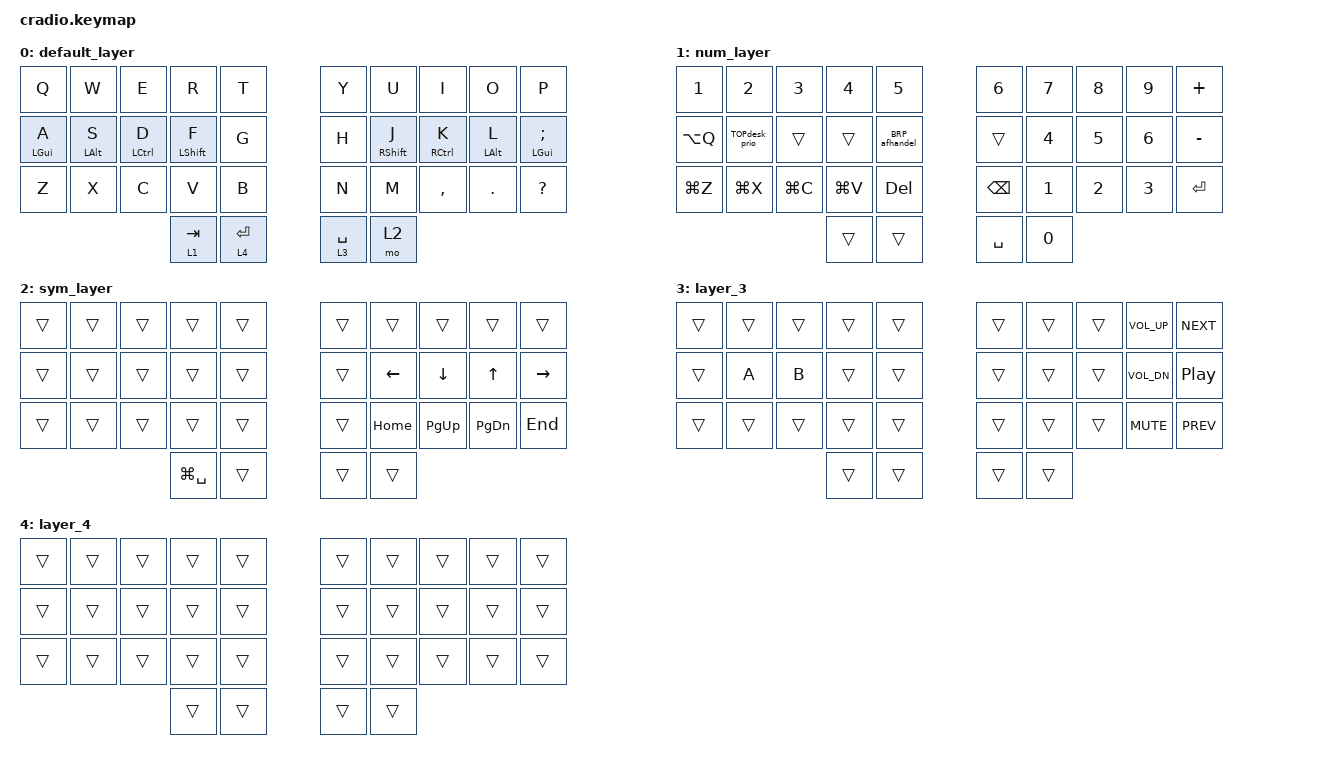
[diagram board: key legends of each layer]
/*
 * Copyright (c) 2020 The ZMK Contributors
 *
 * SPDX-License-Identifier: MIT
 */

#include <behaviors.dtsi>
#include <dt-bindings/zmk/keys.h>

#define NAV_L 1
#define OTHER_L 2
#define NUM_L 3
#define SYM_L 4

// Using layer taps on thumbs, having quick tap as well helps w/ repeating space/backspace

&lt { quick_tap_ms = <200>; };

/ {
    behaviors {
        hm: homerow_mods {
            compatible = "zmk,behavior-hold-tap";
            #binding-cells = <2>;
            tapping_term_ms = <150>;
            flavor = "tap-preferred";
            bindings = <&kp>, <&kp>;
        };
    };

    combos {
        compatible = "zmk,combos";

        backspace {
            bindings = <&kp BACKSPACE>;
            key-positions = <9 8>;
        };

        alt+s {
            bindings = <&kp LA(S)>;
            key-positions = <11 12>;
        };

        esc {
            bindings = <&kp ESCAPE>;
            key-positions = <1 0>;
        };
    };

    macros {
        TOPdesk_prio: TOPdesk_prio {
            compatible = "zmk,behavior-macro";
            #binding-cells = <0>;
            bindings = <&kp L &kp TAB &kp L &kp TAB &kp L &kp TAB &kp TAB &kp TAB &kp TAB>;
            label = "TOPDESK_PRIO";
        };

        BRP_afhandel: BRP_afhandel {
            compatible = "zmk,behavior-macro";
            #binding-cells = <0>;
            bindings = <&kp P &kp A &kp T &kp E &kp R &kp N &kp TAB &kp N &kp TAB &kp TAB &kp TAB>;
            label = "BRP_AFHANDEL";
        };
    };

    keymap {
        compatible = "zmk,keymap";

        default_layer {
            bindings = <
&kp Q       &kp W       &kp E        &kp R        &kp T          &kp Y        &kp U        &kp I        &kp O       &kp P
&hm LGUI A  &hm LALT S  &hm LCTRL D  &hm LSHFT F  &kp G          &kp H        &hm RSHFT J  &hm RCTRL K  &hm LALT L  &hm LGUI SEMICOLON
&kp Z       &kp X       &kp C        &kp V        &kp B          &kp N        &kp M        &kp COMMA    &kp DOT     &kp QUESTION
                                     &lt 1 TAB    &lt 4 ENTER    &lt 3 SPACE  &mo 2
            >;
        };

        num_layer {
            bindings = <
&kp N1     &kp N2         &kp N3     &kp N4     &kp N5           &kp N6         &kp N7        &kp N8        &kp N9        &kp PLUS
&kp LA(Q)  &TOPdesk_prio  &trans     &trans     &BRP_afhandel    &trans         &kp N4        &kp N5        &kp N6        &kp MINUS
&kp LG(Z)  &kp LG(X)      &kp LG(C)  &kp LG(V)  &kp DELETE       &kp BACKSPACE  &kp NUMBER_1  &kp NUMBER_2  &kp NUMBER_3  &kp ENTER
                                     &trans     &trans           &kp SPACE      &kp N0
            >;
        };

        sym_layer {
            bindings = <
&trans  &trans  &trans  &trans         &trans    &trans  &trans    &trans       &trans         &trans
&trans  &trans  &trans  &trans         &trans    &trans  &kp LEFT  &kp DOWN     &kp UP_ARROW   &kp RIGHT
&trans  &trans  &trans  &trans         &trans    &trans  &kp HOME  &kp PAGE_UP  &kp PAGE_DOWN  &kp END
                        &kp LG(SPACE)  &trans    &trans  &trans
            >;
        };

        layer_3 {
            bindings = <
&trans  &trans  &trans  &trans  &trans    &trans  &trans  &trans  &kp C_VOL_UP  &kp C_NEXT
&trans  &kp A   &kp B   &trans  &trans    &trans  &trans  &trans  &kp C_VOL_DN  &kp C_PLAY_PAUSE
&trans  &trans  &trans  &trans  &trans    &trans  &trans  &trans  &kp K_MUTE    &kp C_PREV
                        &trans  &trans    &trans  &trans
            >;
        };

        layer_4 {
            bindings = <
&trans  &trans  &trans  &trans  &trans    &trans  &trans  &trans  &trans  &trans
&trans  &trans  &trans  &trans  &trans    &trans  &trans  &trans  &trans  &trans
&trans  &trans  &trans  &trans  &trans    &trans  &trans  &trans  &trans  &trans
                        &trans  &trans    &trans  &trans
            >;
        };
    };
};
